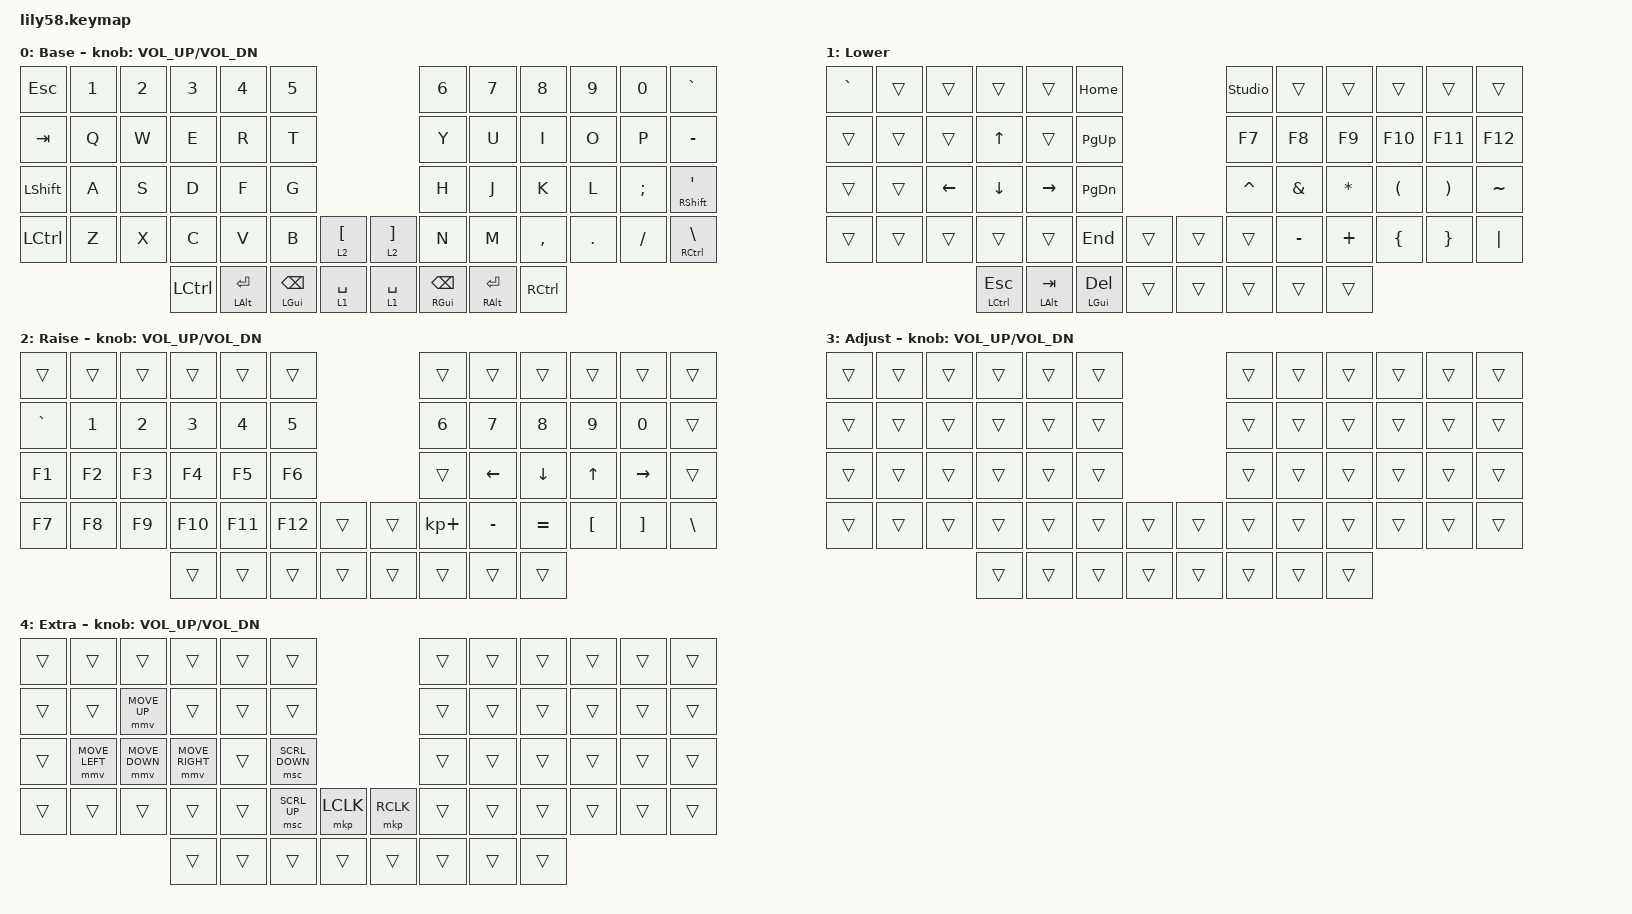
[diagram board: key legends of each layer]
/*
 * Copyright (c) 2020 The ZMK Contributors
 *
 * SPDX-License-Identifier: MIT
 */

#include <behaviors.dtsi>
#include <dt-bindings/zmk/keys.h>
#include <dt-bindings/zmk/pointing.h>

#define default_layer 0
#define lower_layer 1
#define raise_layer 2
#define adjust_layer 3
#define extra_layer 4

/ {
    keymap {
        compatible = "zmk,keymap";

        default_layer {
            display-name = "Base";

            // ------------------------------------------------------------------------------------------------------------
            // |  ESC  |  1  |  2  |  3   |  4   |  5   |                   |  6   |  7    |  8    |  9   |   0   |   `   |
            // |  TAB  |  Q  |  W  |  E   |  R   |  T   |                   |  Y   |  U    |  I    |  O   |   P   |   -   |
            // |  CTRL |  A  |  S  |  D   |  F   |  G   |                   |  H   |  J    |  K    |  L   |   ;   |   '   |
            // | SHIFT |  Z  |  X  |  C   |  V   |  B   |   "["  |  |  "]"  |  N   |  M    |  ,    |  .   |   /   | SHIFT |
            //                     | ALT  | GUI  | LOWER|  SPACE |  | ENTER | RAISE| BSPC  | GUI   |

            bindings = <
&kp ESC    &kp N1  &kp N2  &kp N3     &kp N4          &kp N5                                          &kp N6                   &kp N7               &kp N8     &kp N9   &kp N0    &kp GRAVE
&kp TAB    &kp Q   &kp W   &kp E      &kp R           &kp T                                           &kp Y                    &kp U                &kp I      &kp O    &kp P     &kp MINUS
&kp LSHFT  &kp A   &kp S   &kp D      &kp F           &kp G                                           &kp H                    &kp J                &kp K      &kp L    &kp SEMI  &mt RSHFT SQT
&kp LCTRL  &kp Z   &kp X   &kp C      &kp V           &kp B               &lt 2 LBKT     &lt 2 RBKT   &kp N                    &kp M                &kp COMMA  &kp DOT  &kp FSLH  &mt RCTRL BSLH
                           &kp LCTRL  &mt LALT ENTER  &mt LGUI BACKSPACE  &lt 1 SPACE    &lt 1 SPACE  &mt RIGHT_GUI BACKSPACE  &mt RIGHT_ALT ENTER  &kp RCTRL
            >;

            sensor-bindings = <&inc_dec_kp C_VOL_UP C_VOL_DN>;
        };

        lower_layer {
            display-name = "Lower";

            // ------------------------------------------------------------------------------------------------------------
            // | BTCLR | BT1 | BT2 |  BT3 |  BT4 |  BT5 |                   |      |       |       |      |       |       |
            // |  F1   |  F2 |  F3 |  F4  |  F5  |  F6  |                   |  F7  |  F8   |  F9   |  F10 |  F11  |  F12  |
            // |   `   |  !  |  @  |  #   |  $   |  %   |                   |  ^   |  &    |  *    |  (   |   )   |   ~   |
            // |       |     |     |      |      |      |        |  |       |      |  _    |  +    |  {   |   }   |  "|"  |
            //                     |      |      |      |        |  |       |      |       |       |

            bindings = <
&kp GRAVE  &trans  &trans    &trans         &trans        &kp HOME                        &studio_unlock  &trans     &trans     &trans    &trans    &trans
&trans     &trans  &trans    &kp UP_ARROW   &trans        &kp PG_UP                       &kp F7          &kp F8     &kp F9     &kp F10   &kp F11   &kp F12
&trans     &trans  &kp LEFT  &kp DOWN       &kp RIGHT     &kp PG_DN                       &kp CARET       &kp AMPS   &kp ASTRK  &kp LPAR  &kp RPAR  &kp TILDE
&trans     &trans  &trans    &trans         &trans        &kp END       &trans    &trans  &trans          &kp MINUS  &kp PLUS   &kp LBRC  &kp RBRC  &kp PIPE
                             &mt LCTRL ESC  &mt LALT TAB  &mt LGUI DEL  &trans    &trans  &trans          &trans     &trans
            >;
        };

        raise_layer {
            display-name = "Raise";

            // ------------------------------------------------------------------------------------------------------------
            // |       |     |     |      |      |      |                   |      |       |       |      |       |       |
            // |   `   |  1  |  2  |  3   |  4   |  5   |                   |  6   |   7   |   8   |  9   |   0   |       |
            // |   F1  |  F2 |  F3 |  F4  |  F5  |  F6  |                   |      |   <-  |   v   |  ^   |  ->   |       |
            // |   F7  |  F8 |  F9 |  F10 |  F11 |  F12 |        |  |       |  +   |   -   |   =   |  [   |   ]   |   \   |
            //                     |      |      |      |        |  |       |      |       |       |

            bindings = <
&trans     &trans  &trans  &trans   &trans   &trans                     &trans       &trans     &trans     &trans    &trans     &trans
&kp GRAVE  &kp N1  &kp N2  &kp N3   &kp N4   &kp N5                     &kp N6       &kp N7     &kp N8     &kp N9    &kp N0     &trans
&kp F1     &kp F2  &kp F3  &kp F4   &kp F5   &kp F6                     &trans       &kp LEFT   &kp DOWN   &kp UP    &kp RIGHT  &trans
&kp F7     &kp F8  &kp F9  &kp F10  &kp F11  &kp F12  &trans    &trans  &kp KP_PLUS  &kp MINUS  &kp EQUAL  &kp LBKT  &kp RBKT   &kp BSLH
                           &trans   &trans   &trans   &trans    &trans  &trans       &trans     &trans
            >;

            sensor-bindings = <&inc_dec_kp C_VOL_UP C_VOL_DN>;
        };

        adjust_layer {
            display-name = "Adjust";

            // ------------------------------------------------------------------------------------------------------------
            // |       |     |     |      |      |      |                   |      |       |       |      |       |       |
            // |   `   |  1  |  2  |  3   |  4   |  5   |                   |  6   |   7   |   8   |  9   |   0   |       |
            // |   F1  |  F2 |  F3 |  F4  |  F5  |  F6  |                   |      |   <-  |   v   |  ^   |  ->   |       |
            // |   F7  |  F8 |  F9 |  F10 |  F11 |  F12 |        |  |       |  +   |   -   |   =   |  [   |   ]   |   \   |
            //                     |      |      |      |        |  |       |      |       |       |

            bindings = <
&trans  &trans  &trans  &trans  &trans  &trans                    &trans  &trans  &trans  &trans  &trans  &trans
&trans  &trans  &trans  &trans  &trans  &trans                    &trans  &trans  &trans  &trans  &trans  &trans
&trans  &trans  &trans  &trans  &trans  &trans                    &trans  &trans  &trans  &trans  &trans  &trans
&trans  &trans  &trans  &trans  &trans  &trans  &trans    &trans  &trans  &trans  &trans  &trans  &trans  &trans
                        &trans  &trans  &trans  &trans    &trans  &trans  &trans  &trans
            >;

            sensor-bindings = <&inc_dec_kp C_VOL_UP C_VOL_DN>;
        };

        extra_layer {
            display-name = "Extra";

            // ------------------------------------------------------------------------------------------------------------
            // |       |     |     |      |      |      |                   |      |       |       |      |       |       |
            // |   `   |  1  |  2  |  3   |  4   |  5   |                   |  6   |   7   |   8   |  9   |   0   |       |
            // |   F1  |  F2 |  F3 |  F4  |  F5  |  F6  |                   |      |   <-  |   v   |  ^   |  ->   |       |
            // |   F7  |  F8 |  F9 |  F10 |  F11 |  F12 |        |  |       |  +   |   -   |   =   |  [   |   ]   |   \   |
            //                     |      |      |      |        |  |       |      |       |       |

            bindings = <
&trans  &trans          &trans          &trans           &trans  &trans                                  &trans  &trans  &trans  &trans  &trans  &trans
&trans  &trans          &mmv MOVE_UP    &trans           &trans  &trans                                  &trans  &trans  &trans  &trans  &trans  &trans
&trans  &mmv MOVE_LEFT  &mmv MOVE_DOWN  &mmv MOVE_RIGHT  &trans  &msc SCRL_DOWN                          &trans  &trans  &trans  &trans  &trans  &trans
&trans  &trans          &trans          &trans           &trans  &msc SCRL_UP    &mkp LCLK    &mkp RCLK  &trans  &trans  &trans  &trans  &trans  &trans
                                        &trans           &trans  &trans          &trans       &trans     &trans  &trans  &trans
            >;

            sensor-bindings = <&inc_dec_kp C_VOL_UP C_VOL_DN>;
        };
    };
};
